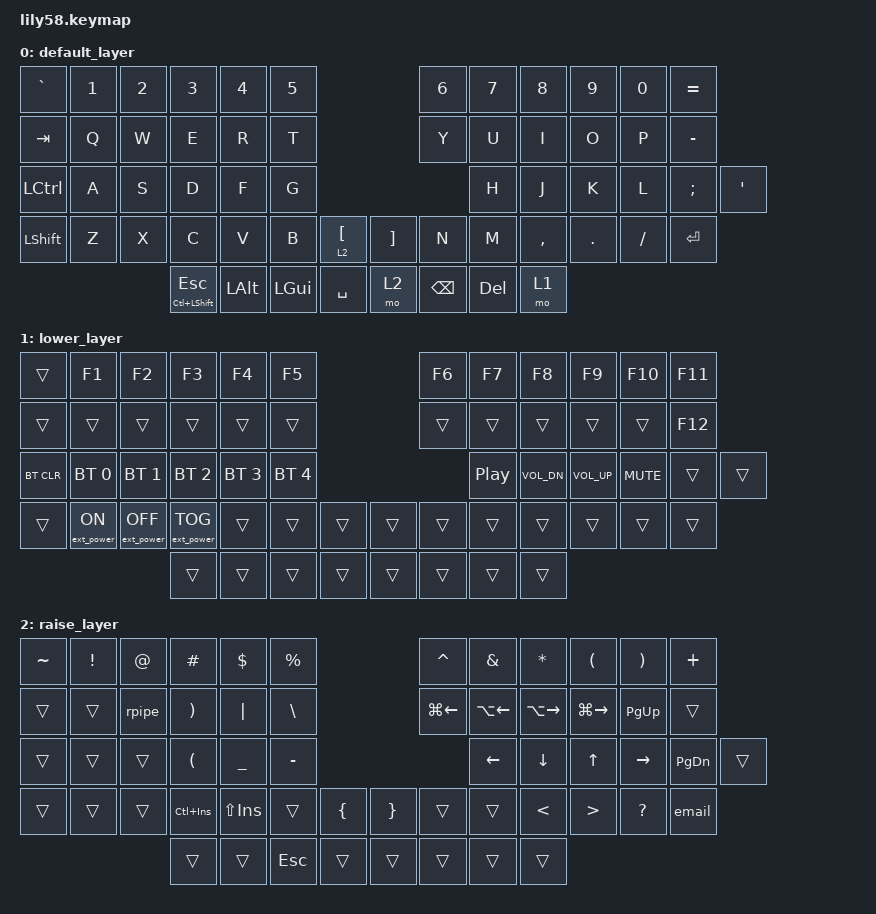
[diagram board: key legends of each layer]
/*
 * Copyright (c) 2020 The ZMK Contributors
 *
 * SPDX-License-Identifier: MIT
 */

#include <behaviors.dtsi>
#include <dt-bindings/zmk/keys.h>
#include <dt-bindings/zmk/bt.h>
#include <dt-bindings/zmk/ext_power.h>

/ {
  macros {

    ZMK_MACRO(email,
      wait-ms = <30>;
      tap-ms = <5>;
      bindings = <&kp I &kp V &kp A &kp N &kp DOT &kp K &kp R &kp Y &kp U &kp K &kp O &kp V &kp AT &kp B &kp A &kp Y &kp E &kp R &kp DOT &kp C &kp O &kp M>;
    )

    ZMK_MACRO(rpipe,
      wait-ms = <30>;
      tap-ms = <5>;
      bindings = <&kp PRCNT &kp GT &kp PRCNT>;
    )
  };
};

/ {
    keymap {
        compatible = "zmk,keymap";

        default_layer {
            bindings = <
&kp GRAVE  &kp N1  &kp N2  &kp N3   &kp N4   &kp N5                       &kp N6   &kp N7   &kp N8     &kp N9   &kp N0    &kp EQUAL
&kp TAB    &kp Q   &kp W   &kp E    &kp R    &kp T                        &kp Y    &kp U    &kp I      &kp O    &kp P     &kp MINUS
&kp LCTRL  &kp A   &kp S   &kp D    &kp F    &kp G                        &kp H    &kp J    &kp K      &kp L    &kp SEMI     &kp APOS
&kp LSHFT  &kp Z   &kp X   &kp C    &kp V    &kp B  &lt 2 LBKT     &kp RBKT &kp N    &kp M    &kp COMMA  &kp DOT  &kp FSLH  &kp RET
            &mt LC(LSHFT) ESC &kp LALT    &kp LGUI  &kp SPACE              &mo 2 &kp BSPC &kp DEL &mo 1
            >;
        };

        lower_layer {
            bindings = <
&trans      &kp F1            &kp F2             &kp F3             &kp F4        &kp F5                          &kp F6   &kp F7   &kp F8       &kp F9        &kp F10    &kp F11
&trans      &trans            &trans             &trans             &trans        &trans                          &trans   &trans   &trans       &trans        &trans     &kp F12
&bt BT_CLR  &bt BT_SEL 0      &bt BT_SEL 1       &bt BT_SEL 2       &bt BT_SEL 3  &bt BT_SEL 4                    &kp C_PLAY_PAUSE  &kp C_VOL_DN &kp C_VOL_UP  &kp C_MUTE &trans &trans
&trans      &ext_power EP_ON  &ext_power EP_OFF  &ext_power EP_TOG  &trans        &trans        &trans    &trans  &trans   &trans   &trans       &trans        &trans     &trans
                                                 &trans             &trans        &trans        &trans    &trans  &trans   &trans   &trans
            >;
        };

        raise_layer {
            bindings = <
&kp TILDE  &kp EXCL  &kp AT    &kp HASH  &kp DOLLAR  &kp PRCNT                          &kp CARET  &kp AMPS      &kp STAR       &kp LPAR   &kp RPAR   &kp PLUS
&trans     &trans    &rpipe    &kp RPAR  &kp PIPE    &kp BSLH                           &kp LG(LEFT)   &kp LA(LEFT)  &kp LA(RIGHT)  &kp LG(RIGHT)    &kp PG_UP  &trans
&trans     &trans    &trans    &kp LPAR  &kp UNDER   &kp MINUS                          &kp LEFT   &kp DOWN      &kp UP         &kp RIGHT  &kp PG_DN  &trans
&trans     &trans    &trans    &kp LC(INS)    &kp LS(INS)      &trans    &kp LBRC       &kp RBRC  &trans     &trans        &kp LT         &kp GT     &kp QMARK  &email
                               &trans    &trans      &kp ESC   &trans         &trans  &trans     &trans        &trans
            >;
        };
    };
};
